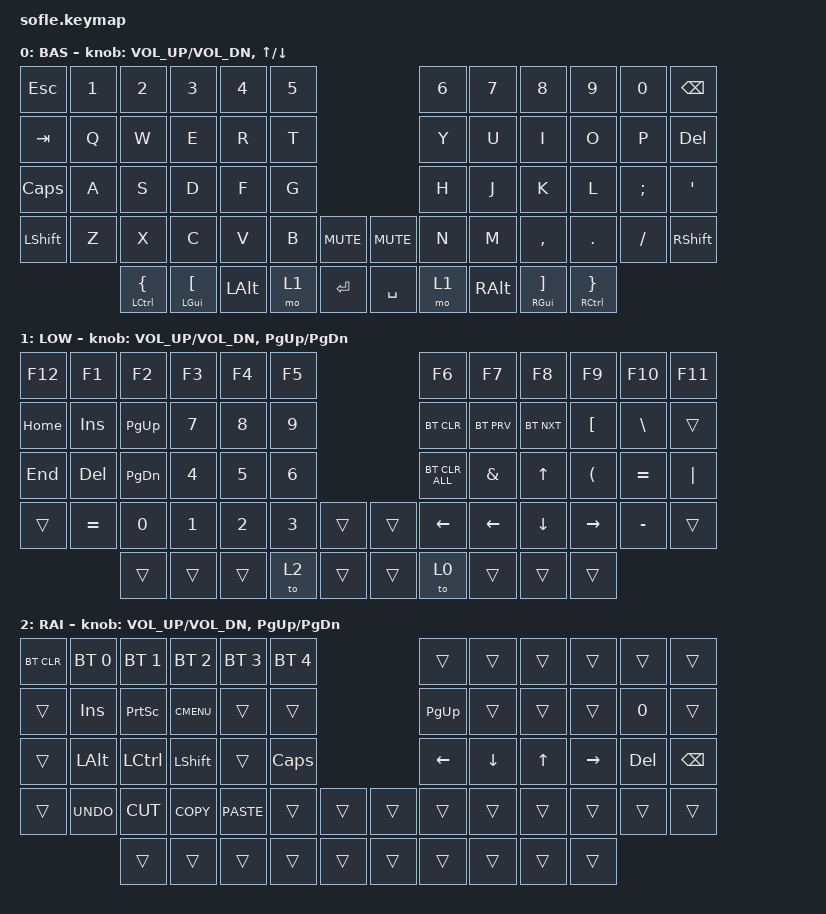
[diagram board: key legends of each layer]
/*
 * Copyright (c) 2020 The ZMK Contributors
 *
 * SPDX-License-Identifier: MIT
 */

#include <behaviors.dtsi>
#include <dt-bindings/zmk/bt.h>
#include <dt-bindings/zmk/keys.h>

/ {
    keymap {
        compatible = "zmk,keymap";

        default_layer {
            display-name = "BAS";

            // ------------------------------------------------------------------------------------------------------------
            // |  `    |  1  |  2  |  3   |  4   |  5   |                   |  6   |  7    |  8    |  9   |   0   |       |
            // |  ESC  |  Q  |  W  |  E   |  R   |  T   |                   |  Y   |  U    |  I    |  O   |   P   | BKSPC |
            // |  TAB  |  A  |  S  |  D   |  F   |  G   |                   |  H   |  J    |  K    |  L   |   ;   |   '   |
            // | SHIFT |  Z  |  X  |  C   |  V   |  B   |  MUTE  |  |       |  N   |  M    |  ,    |  .   |   /   | SHIFT |
            //               | GUI | ALT  | CTRL | LOWER|  ENTER |  | SPACE | RAISE| CTRL  | ALT   | GUI  |

            bindings = <
&kp ESCAPE  &kp N1  &kp N2                       &kp N3                     &kp N4        &kp N5                            &kp N6  &kp N7         &kp N8                       &kp N9                         &kp N0    &kp BACKSPACE
&kp TAB     &kp Q   &kp W                        &kp E                      &kp R         &kp T                             &kp Y   &kp U          &kp I                        &kp O                          &kp P     &kp DELETE
&kp CAPS    &kp A   &kp S                        &kp D                      &kp F         &kp G                             &kp H   &kp J          &kp K                        &kp L                          &kp SEMI  &kp SQT
&kp LSHFT   &kp Z   &kp X                        &kp C                      &kp V         &kp B   &kp C_MUTE    &kp C_MUTE  &kp N   &kp M          &kp COMMA                    &kp DOT                        &kp FSLH  &kp RSHFT
                    &mt LEFT_CONTROL LEFT_BRACE  &mt LEFT_GUI LEFT_BRACKET  &kp LEFT_ALT  &mo 1   &kp RET       &kp SPACE   &mo 1   &kp RIGHT_ALT  &mt RIGHT_GUI RIGHT_BRACKET  &mt RIGHT_CONTROL RIGHT_BRACE
            >;

            sensor-bindings =
                <&inc_dec_kp C_VOL_UP C_VOL_DN>,
                <&inc_dec_kp UP_ARROW DOWN_ARROW>;
        };

        lower_layer {
            display-name = "LOW";

            // ------------------------------------------------------------------------------------------------------------
            // | `     |  F1 |  F2 |  F3  |  F4  |  F5  |                   |  F6  |  F7   |  F8   |  F9  |  F10  |  F11  |
            // | RAISE |   1 |   2 |   3  |   4  |   5  |                   |   6  |   7   |   8   |   9  |    0  |  F12  |
            // |       |  !  |  @  |  #   |  $   |  %   |                   |  ^   |  &    |  *    |  (   |   )   |   |   |
            // |       |  =  |  -  |  +   |  {   |  }   |        |  |       |  [   |  ]    |  ;    |  :   |   \   |       |
            //               |     |      |      |      |        |  |       |      |       |       |      |

            bindings = <
&kp F12   &kp F1     &kp F2         &kp F3        &kp F4        &kp F5                          &kp F6          &kp F7          &kp F8          &kp F9            &kp F10        &kp F11
&kp HOME  &kp INS    &kp PAGE_UP    &kp NUMBER_7  &kp NUMBER_8  &kp NUMBER_9                    &bt BT_CLR      &bt BT_PRV      &bt BT_NXT      &kp LEFT_BRACKET  &kp BACKSLASH  &trans
&kp END   &kp DEL    &kp PAGE_DOWN  &kp NUMBER_4  &kp NUMBER_5  &kp NUMBER_6                    &bt BT_CLR_ALL  &kp AMPS        &kp UP_ARROW    &kp LPAR          &kp EQUAL      &kp PIPE
&trans    &kp EQUAL  &kp N0         &kp NUMBER_1  &kp NUMBER_2  &kp NUMBER_3  &trans    &trans  &kp LEFT_ARROW  &kp LEFT_ARROW  &kp DOWN_ARROW  &kp RIGHT_ARROW   &kp MINUS      &trans
                     &trans         &trans        &trans        &to 2         &trans    &trans  &to 0           &trans          &trans          &trans
            >;

            sensor-bindings = <&inc_dec_kp C_VOL_UP C_VOL_DN &inc_dec_kp PG_UP PG_DN>;
        };

        raise_layer {
            display-name = "RAI";

            // ------------------------------------------------------------------------------------------------------------
            // |BTCLR| BT1  | BT2  |  BT3  |  BT4  |  BT5 |                |      |      |       |      |       |       |
            // |     | INS  | PSCR | GUI   |       |      |                | PGUP |      |       |      |       |       |
            // |     | ALT  | CTRL | SHIFT |       | CAPS |                |  <-  |   v  |   ^   |  ->  |  DEL  | BKSPC |
            // |     | UNDO | CUT  | COPY  | PASTE |      |      |  |      |      |      |       |      |       |       |
            //              |      |       |       |      |      |  |      |      |      |       |      |

            bindings = <
&bt BT_CLR  &bt BT_SEL 0  &bt BT_SEL 1  &bt BT_SEL 2  &bt BT_SEL 3  &bt BT_SEL 4                    &trans     &trans    &trans  &trans     &trans   &trans
&trans      &kp INS       &kp PSCRN     &kp K_CMENU   &trans        &trans                          &kp PG_UP  &trans    &trans  &trans     &kp N0   &trans
&trans      &kp LALT      &kp LCTRL     &kp LSHFT     &trans        &kp CLCK                        &kp LEFT   &kp DOWN  &kp UP  &kp RIGHT  &kp DEL  &kp BSPC
&trans      &kp K_UNDO    &kp K_CUT     &kp K_COPY    &kp K_PASTE   &trans        &trans    &trans  &trans     &trans    &trans  &trans     &trans   &trans
                          &trans        &trans        &trans        &trans        &trans    &trans  &trans     &trans    &trans  &trans
            >;

            sensor-bindings = <&inc_dec_kp C_VOL_UP C_VOL_DN &inc_dec_kp PG_UP PG_DN>;
        };
    };
};
